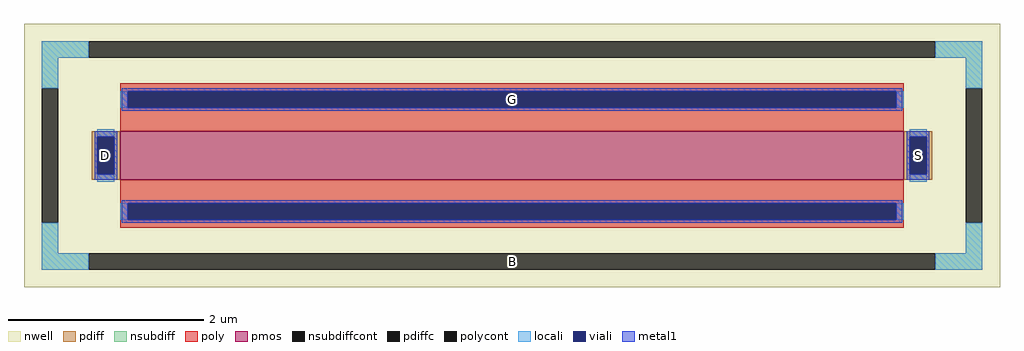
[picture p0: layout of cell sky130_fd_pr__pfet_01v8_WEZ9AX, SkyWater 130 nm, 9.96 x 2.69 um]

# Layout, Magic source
magic
tech sky130A
magscale 1 2
<< nwell >>
rect -996 -269 996 269
<< pmos >>
rect -800 -50 800 50
<< pdiff >>
rect -858 38 -800 50
rect -858 -38 -846 38
rect -812 -38 -800 38
rect -858 -50 -800 -38
rect 800 38 858 50
rect 800 -38 812 38
rect 846 -38 858 38
rect 800 -50 858 -38
<< pdiffc >>
rect -846 -38 -812 38
rect 812 -38 846 38
<< nsubdiff >>
rect -960 199 -864 233
rect 864 199 960 233
rect -960 137 -926 199
rect 926 137 960 199
rect -960 -199 -926 -137
rect 926 -199 960 -137
rect -960 -233 -864 -199
rect 864 -233 960 -199
<< nsubdiffcont >>
rect -864 199 864 233
rect -960 -137 -926 137
rect 926 -137 960 137
rect -864 -233 864 -199
<< poly >>
rect -800 131 800 147
rect -800 97 -784 131
rect 784 97 800 131
rect -800 50 800 97
rect -800 -97 800 -50
rect -800 -131 -784 -97
rect 784 -131 800 -97
rect -800 -147 800 -131
<< polycont >>
rect -784 97 784 131
rect -784 -131 784 -97
<< locali >>
rect -960 199 -864 233
rect 864 199 960 233
rect -960 137 -926 199
rect 926 137 960 199
rect -800 97 -784 131
rect 784 97 800 131
rect -846 38 -812 54
rect -846 -54 -812 -38
rect 812 38 846 54
rect 812 -54 846 -38
rect -800 -131 -784 -97
rect 784 -131 800 -97
rect -960 -199 -926 -137
rect 926 -199 960 -137
rect -960 -233 -864 -199
rect 864 -233 960 -199
<< viali >>
rect -784 97 784 131
rect -846 -38 -812 38
rect 812 -38 846 38
rect -784 -131 784 -97
<< metal1 >>
rect -796 131 796 137
rect -796 97 -784 131
rect 784 97 796 131
rect -796 91 796 97
rect -852 38 -806 50
rect -852 -38 -846 38
rect -812 -38 -806 38
rect -852 -50 -806 -38
rect 806 38 852 50
rect 806 -38 812 38
rect 846 -38 852 38
rect 806 -50 852 -38
rect -796 -97 796 -91
rect -796 -131 -784 -97
rect 784 -131 796 -97
rect -796 -137 796 -131
<< labels >>
rlabel nsubdiffcont 0 -216 0 -216 0 B
port 1 nsew
rlabel pdiffc -829 0 -829 0 0 D
port 2 nsew
rlabel pdiffc 829 0 829 0 0 S
port 3 nsew
rlabel polycont 0 114 0 114 0 G
port 4 nsew
<< properties >>
string FIXED_BBOX -943 -216 943 216
string gencell sky130_fd_pr__pfet_01v8
string library sky130
string parameters w 0.5 l 8.0 m 1 nf 1 diffcov 100 polycov 100 guard 1 glc 1 grc 1 gtc 1 gbc 1 tbcov 100 rlcov 100 topc 1 botc 1 poverlap 0 doverlap 1 lmin 0.15 wmin 0.42 class mosfet compatible {sky130_fd_pr__pfet_01v8  sky130_fd_pr__pfet_01v8_lvt sky130_fd_pr__pfet_01v8_hvt  sky130_fd_pr__pfet_g5v0d10v5} full_metal 1 conn_gates 0 viasrc 100 viadrn 100 viagate 100 viagb 0 viagr 0 viagl 0 viagt 0 doports 1 ad 0.145 as 0.145 pd 1.58 ps 1.58 nrd 0.58 nrs 0.58 sa 0 sb 0 sd 0 mult 1
<< end >>
